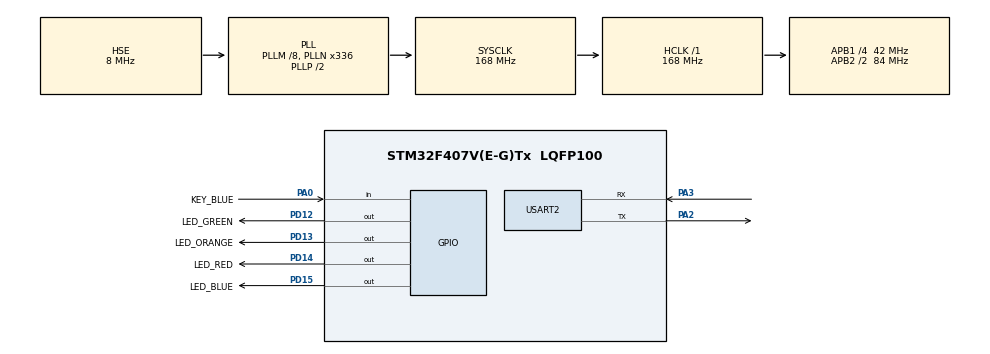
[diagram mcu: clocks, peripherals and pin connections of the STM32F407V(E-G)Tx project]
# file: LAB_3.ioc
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Mcu.Family=STM32F4
Mcu.Name=STM32F407V(E-G)Tx
Mcu.Package=LQFP100
NVIC.PriorityGroup=NVIC_PRIORITYGROUP_4
PA0-WKUP.GPIO_Label=KEY_BLUE
PA0-WKUP.Signal=GPIO_Input
PA13.Mode=Serial_Wire
PA13.Signal=SYS_JTMS-SWDIO
PA14.Mode=Serial_Wire
PA14.Signal=SYS_JTCK-SWCLK
PA2.Mode=Asynchronous
PA2.Signal=USART2_TX
PA3.Mode=Asynchronous
PA3.Signal=USART2_RX
PD12.GPIO_Label=LED_GREEN
PD12.Signal=GPIO_Output
PD13.GPIO_Label=LED_ORANGE
PD13.Signal=GPIO_Output
PD14.GPIO_Label=LED_RED
PD14.Signal=GPIO_Output
PD15.GPIO_Label=LED_BLUE
PD15.Signal=GPIO_Output
PH0-OSC_IN.Mode=HSE-External-Oscillator
PH0-OSC_IN.Signal=RCC_OSC_IN
PH1-OSC_OUT.Mode=HSE-External-Oscillator
PH1-OSC_OUT.Signal=RCC_OSC_OUT
ProjectManager.HeapSize=0x200
ProjectManager.StackSize=0x400
ProjectManager.TargetToolchain=MDK-ARM V5.32
RCC.48MHZClocksFreq_Value=84000000
RCC.AHBFreq_Value=168000000
RCC.APB1CLKDivider=RCC_HCLK_DIV4
RCC.APB1Freq_Value=42000000
RCC.APB1TimFreq_Value=84000000
RCC.APB2CLKDivider=RCC_HCLK_DIV2
RCC.APB2Freq_Value=84000000
RCC.APB2TimFreq_Value=168000000
RCC.CortexFreq_Value=168000000
RCC.HCLKFreq_Value=168000000
RCC.HSE_VALUE=8000000
RCC.HSI_VALUE=16000000
RCC.LSE_VALUE=32768
RCC.PLLM=8
RCC.PLLN=336
RCC.PLLSourceVirtual=RCC_PLLSOURCE_HSE
RCC.SYSCLKFreq_VALUE=168000000
RCC.SYSCLKSource=RCC_SYSCLKSOURCE_PLLCLK
RCC.VCOOutputFreq_Value=336000000
USART2.VirtualMode=VM_ASYNC
board=custom

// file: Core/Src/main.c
/* USER CODE BEGIN Header */
/**
  ******************************************************************************
  * @file           : main.c
  * @brief          : Main program body
  ******************************************************************************
  * @attention
  *
  * <h2><center>&copy; Copyright (c) 2022 STMicroelectronics.
  * All rights reserved.</center></h2>
  *
  * This software component is licensed by ST under BSD 3-Clause license,
  * the "License"; You may not use this file except in compliance with the
  * License. You may obtain a copy of the License at:
  *                        opensource.org/licenses/BSD-3-Clause
  *
  ******************************************************************************
  */
/* USER CODE END Header */
#include "main.h"

UART_HandleTypeDef huart2;

void SystemClock_Config(void);
static void MX_GPIO_Init(void);
static void MX_USART2_UART_Init(void);

/* USER CODE BEGIN 0 */
	//#define SIMULATOR
	uint8_t tick300mc;
	const uint16_t MAX_LEN = 10;
	uint8_t counter =0;
	char inputStr[MAX_LEN+1];
	char ready = '0';

	void getInputStr()
	{
		if(ready == '1')
		{
			return;
		}
		uint32_t ch;
		ch = USART2_ReceiveChar();
		if(ch == 0x100)
		{
			return;
		}

		inputStr[counter++] = ch;

			if(counter == MAX_LEN)
			{
				ready =1;
				return;
			}

			if(ch == '=')
			{
				ready = '1';
				return;
			}

			if(ready == '1')
			{
				return;
			}
	}

	float calculator(const char *instr, uint32_t *err)
	{
		float num1, num2, result;
		char operators;
		sscanf(instr,"%f %c %f", &num1, &operators, &num2);

		if(operators == '+')
		{
			result = num1 + num2;
		}
			else	if(operators == '-')
		{
			result = num1 - num2;
		}
			else	if(operators == '*')
		{
			result = num1 * num2;
		}
			else	if(operators == '/')
		{
			result = num1 / num2;
		}
		else{
			*err =404;
		}

		return result;
	}

	uint32_t ITM_puts(const char *s)
	{
		size_t i=0;
		while (s[i]) ITM_SendChar (s[i++]);
		return i;
	}

	uint32_t USART2_SendChar(uint32_t ch)
	{
			while(!(USART2->SR & UART_FLAG_TXE));
			USART2->DR=ch&0xFF;
			return ch;
	}

	void USART2_Send_String(char* str)
	{
    int i = 0;
    while(str[i])
        USART2_SendChar(str[i++]);
	}

	int32_t USART2_ReceiveChar(void)
	{
		if((USART2->SR & UART_FLAG_RXNE))
		{
			return USART2->DR;
		}
		else
		{
			return 0x100;
		}
	}

/* USER CODE END 0 */

int main(void)
{

  /* MCU Configuration--------------------------------------------------------*/

  /* Reset of all peripherals, Initializes the Flash interface and the Systick. */
  HAL_Init();

  /* Configure the system clock */
  //SystemClock_Config();

  /* Initialize all configured peripherals */
  MX_GPIO_Init();
  MX_USART2_UART_Init();

  /* Infinite loop */
  /* USER CODE BEGIN WHILE */
	uint32_t err =0;
	float result=0;
	char str[MAX_LEN+1];
  while (1)
  {
		getInputStr();
		if(ready =='1')
		{
			USART2_Send_String(inputStr);
			USART2_Send_String("aaa\n\r");
			memcpy(str,inputStr, MAX_LEN);
			result = calculator(inputStr,&err);
			char ss[20];
			sprintf(ss, "%s%f\n\r", str, result);
			USART2_Send_String(ss);
			counter =0;
			ready = '0';
		}
    /* USER CODE END WHILE */

  }
}

void SystemClock_Config(void)
{
  RCC_OscInitTypeDef RCC_OscInitStruct = {0};
  RCC_ClkInitTypeDef RCC_ClkInitStruct = {0};

  /** Configure the main internal regulator output voltage
  */
  __HAL_RCC_PWR_CLK_ENABLE();
  __HAL_PWR_VOLTAGESCALING_CONFIG(PWR_REGULATOR_VOLTAGE_SCALE1);
  /** Initializes the RCC Oscillators according to the specified parameters
  * in the RCC_OscInitTypeDef structure.
  */
  RCC_OscInitStruct.OscillatorType = RCC_OSCILLATORTYPE_HSE;
  RCC_OscInitStruct.HSEState = RCC_HSE_ON;
  RCC_OscInitStruct.PLL.PLLState = RCC_PLL_ON;
  RCC_OscInitStruct.PLL.PLLSource = RCC_PLLSOURCE_HSE;
  RCC_OscInitStruct.PLL.PLLM = 8;
  RCC_OscInitStruct.PLL.PLLN = 336;
  RCC_OscInitStruct.PLL.PLLP = RCC_PLLP_DIV2;
  RCC_OscInitStruct.PLL.PLLQ = 4;
  if (HAL_RCC_OscConfig(&RCC_OscInitStruct) != HAL_OK)
  {
    Error_Handler();
  }
  /** Initializes the CPU, AHB and APB buses clocks
  */
  RCC_ClkInitStruct.ClockType = RCC_CLOCKTYPE_HCLK|RCC_CLOCKTYPE_SYSCLK
                              |RCC_CLOCKTYPE_PCLK1|RCC_CLOCKTYPE_PCLK2;
  RCC_ClkInitStruct.SYSCLKSource = RCC_SYSCLKSOURCE_PLLCLK;
  RCC_ClkInitStruct.AHBCLKDivider = RCC_SYSCLK_DIV1;
  RCC_ClkInitStruct.APB1CLKDivider = RCC_HCLK_DIV4;
  RCC_ClkInitStruct.APB2CLKDivider = RCC_HCLK_DIV2;

  if (HAL_RCC_ClockConfig(&RCC_ClkInitStruct, FLASH_LATENCY_5) != HAL_OK)
  {
    Error_Handler();
  }
}

static void MX_USART2_UART_Init(void)
{

  huart2.Instance = USART2;
  huart2.Init.BaudRate = 115200;
  huart2.Init.WordLength = UART_WORDLENGTH_8B;
  huart2.Init.StopBits = UART_STOPBITS_1;
  huart2.Init.Parity = UART_PARITY_NONE;
  huart2.Init.Mode = UART_MODE_TX_RX;
  huart2.Init.HwFlowCtl = UART_HWCONTROL_NONE;
  huart2.Init.OverSampling = UART_OVERSAMPLING_16;
  if (HAL_UART_Init(&huart2) != HAL_OK)
  {
    Error_Handler();
  }

}

static void MX_GPIO_Init(void)
{
  GPIO_InitTypeDef GPIO_InitStruct = {0};

  /* GPIO Ports Clock Enable */
  __HAL_RCC_GPIOH_CLK_ENABLE();
  __HAL_RCC_GPIOA_CLK_ENABLE();
  __HAL_RCC_GPIOD_CLK_ENABLE();

  /*Configure GPIO pin Output Level */
  HAL_GPIO_WritePin(GPIOD, LED_GREEN_Pin|LED_ORANGE_Pin|LED_RED_Pin|LED_BLUE_Pin, GPIO_PIN_RESET);

  /*Configure GPIO pin : KEY_BLUE_Pin */
  GPIO_InitStruct.Pin = KEY_BLUE_Pin;
  GPIO_InitStruct.Mode = GPIO_MODE_INPUT;
  GPIO_InitStruct.Pull = GPIO_NOPULL;
  HAL_GPIO_Init(KEY_BLUE_GPIO_Port, &GPIO_InitStruct);

  /*Configure GPIO pins : LED_GREEN_Pin LED_ORANGE_Pin LED_RED_Pin LED_BLUE_Pin */
  GPIO_InitStruct.Pin = LED_GREEN_Pin|LED_ORANGE_Pin|LED_RED_Pin|LED_BLUE_Pin;
  GPIO_InitStruct.Mode = GPIO_MODE_OUTPUT_PP;
  GPIO_InitStruct.Pull = GPIO_NOPULL;
  GPIO_InitStruct.Speed = GPIO_SPEED_FREQ_LOW;
  HAL_GPIO_Init(GPIOD, &GPIO_InitStruct);

}

void Error_Handler(void)
{
  /* USER CODE BEGIN Error_Handler_Debug */
  /* User can add his own implementation to report the HAL error return state */
	#ifndef SIMULATOR
  __disable_irq();
  while (1)
  {
  }
	#endif
  /* USER CODE END Error_Handler_Debug */
}

/************************ (C) COPYRIGHT STMicroelectronics *****END OF FILE****/
